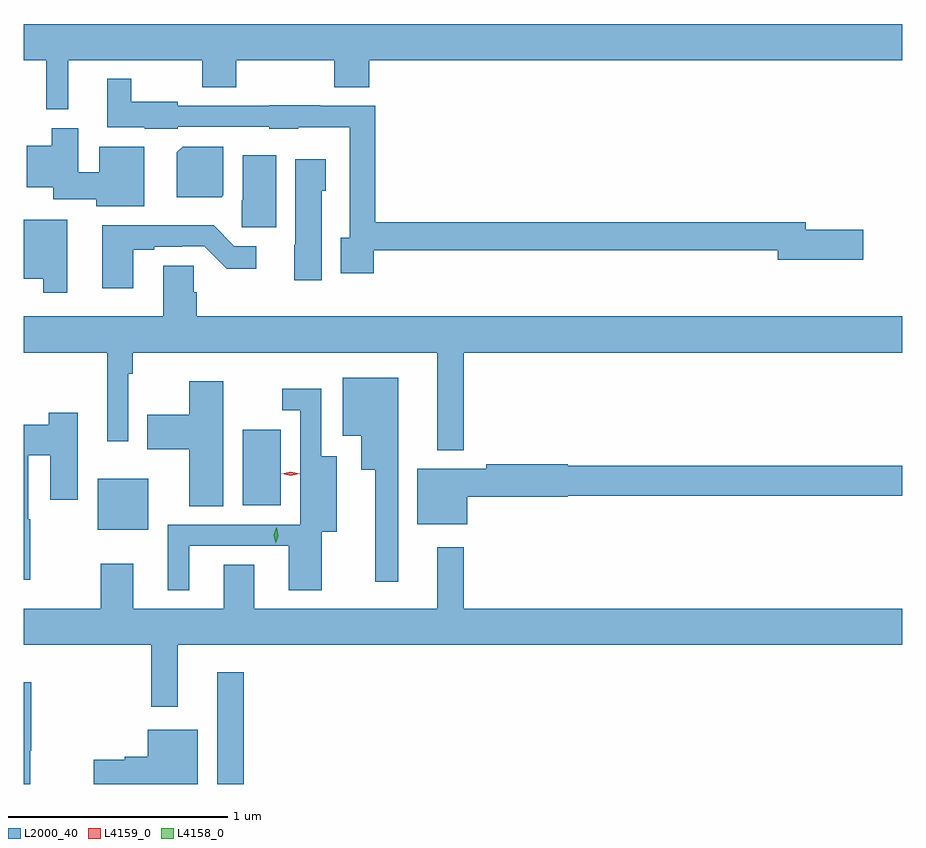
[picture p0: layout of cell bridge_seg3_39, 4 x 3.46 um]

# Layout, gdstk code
import gdstk
lib = gdstk.Library(unit=1e-6, precision=1e-09)
def R(c, l, rs):  # rectangles x0, y0, x1, y1
    for r in rs: c.add(gdstk.rectangle(r[:2], r[2:], *l))
def P(c, l, *ps):  # polygons
    for p in ps: c.add(gdstk.Polygon(p, *l))
L2000_40 = (2000, 40)
L4158_0 = (4158, 0)
L4159_0 = (4159, 0)

bridge_seg3_39 = lib.new_cell('bridge_seg3_39')
R(bridge_seg3_39, L2000_40, [(708.689,672.311,708.811,672.82), (708.146,673.469,708.376,673.702), (708.806,673.58,708.979,673.924)])
P(bridge_seg3_39, L2000_40, [(708.011,675.608),(708.622,675.608),(708.622,675.484),(708.777,675.484),(708.777,675.608),(709.222,675.608),(709.222,675.484),(709.382,675.484),(709.382,675.608),(711.809,675.608),(711.809,675.772),(707.809,675.772),(707.809,675.608),(707.912,675.608),(707.912,675.383),(708.011,675.383)],
  [(709.402,674.742),(711.242,674.742),(711.242,674.699),(711.631,674.699),(711.631,674.834),(711.37,674.834),(711.37,674.87),(709.409,674.87),(709.409,675.399),(709.159,675.399),(709.159,675.401),(708.927,675.401),(708.927,675.399),(708.51,675.399),(708.51,675.418),(708.298,675.418),(708.298,675.523),(708.188,675.523),(708.188,675.302),(708.36,675.302),(708.36,675.296),(708.51,675.296),(708.51,675.303),(708.927,675.303),(708.927,675.296),(709.059,675.296),(709.059,675.302),(709.293,675.302),(709.293,674.798),(709.253,674.798),(709.253,674.637),(709.402,674.637)],
  [(708.358,675.214),(708.152,675.214),(708.152,675.098),(708.058,675.098),(708.058,675.298),(707.936,675.298),(707.936,675.217),(707.822,675.217),(707.822,675.029),(707.942,675.029),(707.942,674.975),(708.138,674.975),(708.138,674.942),(708.358,674.942)],
  [(708.718,674.992),(708.718,675.214),(708.532,675.214),(708.506,675.188),(708.506,674.984),(708.71,674.984)],
  [(708.958,675.175),(708.806,675.175),(708.806,674.97),(708.802,674.97),(708.802,674.847),(708.958,674.847)],
  [(709.165,675.012),(709.183,675.012),(709.183,675.157),(709.046,675.157),(709.046,674.766),(709.04,674.766),(709.04,674.604),(709.165,674.604)],
  [(708.006,674.881),(707.809,674.881),(707.809,674.612),(707.898,674.612),(707.898,674.547),(708.006,674.547)],
  [(708.307,674.745),(708.403,674.745),(708.403,674.757),(708.53,674.757),(708.53,674.76),(708.63,674.76),(708.733,674.658),(708.868,674.658),(708.868,674.76),(708.768,674.76),(708.673,674.855),(708.167,674.855),(708.167,674.568),(708.307,674.568)],
  [(709.813,674.276),(711.809,674.276),(711.809,674.44),(708.596,674.44),(708.596,674.55),(708.582,674.55),(708.582,674.672),(708.443,674.672),(708.443,674.44),(707.809,674.44),(707.809,674.276),(708.188,674.276),(708.188,673.872),(708.285,673.872),(708.285,674.18),(708.305,674.18),(708.305,674.276),(709.691,674.276),(709.691,673.832),(709.813,673.832)],
  [(709.513,674.161),(709.262,674.161),(709.262,673.898),(709.346,673.898),(709.346,673.742),(709.409,673.742),(709.409,673.233),(709.513,673.233)],
  [(708.718,674.146),(708.563,674.146),(708.563,673.993),(708.37,673.993),(708.37,673.835),(708.563,673.835),(708.563,673.576),(708.718,673.576)],
  [(708.562,673.395),(709.016,673.395),(709.016,673.194),(709.165,673.194),(709.165,673.46),(709.234,673.46),(709.234,673.804),(709.164,673.804),(709.164,674.11),(708.987,674.11),(708.987,674.013),(709.068,674.013),(709.068,673.7),(709.067,673.7),(709.067,673.491),(708.464,673.491),(708.464,673.194),(708.562,673.194)],
  [(707.838,673.517),(707.83,673.517),(707.83,673.808),(707.93,673.808),(707.93,673.605),(708.055,673.605),(708.055,674.002),(707.923,674.002),(707.923,673.948),(707.809,673.948),(707.809,673.241),(707.838,673.241)],
  [(709.828,673.619),(710.286,673.619),(710.286,673.624),(711.809,673.624),(711.809,673.76),(710.286,673.76),(710.286,673.766),(709.914,673.766),(709.914,673.747),(709.601,673.747),(709.601,673.493),(709.828,673.493)],
  [(708.511,672.944),(711.809,672.944),(711.809,673.108),(709.813,673.108),(709.813,673.39),(709.691,673.39),(709.691,673.108),(708.859,673.108),(708.859,673.31),(708.719,673.31),(708.719,673.108),(708.307,673.108),(708.307,673.315),(708.16,673.315),(708.16,673.108),(707.809,673.108),(707.809,672.944),(708.39,672.944),(708.39,672.663),(708.511,672.663)],
  [(707.838,672.462),(707.843,672.462),(707.843,672.775),(707.809,672.775),(707.809,672.311),(707.838,672.311)],
  [(708.601,672.559),(708.374,672.559),(708.374,672.434),(708.269,672.434),(708.269,672.421),(708.127,672.421),(708.127,672.311),(708.601,672.311)])
P(bridge_seg3_39, L4158_0, [(708.956,673.407),(708.948,673.443),(708.959,673.478),(708.959,673.478),(708.96,673.478),(708.968,673.442),(708.957,673.407),(708.957,673.407)])
P(bridge_seg3_39, L4159_0, [(709.024,673.714),(708.983,673.724),(708.982,673.724),(708.983,673.724),(709.024,673.733),(709.065,673.723),(709.065,673.723),(709.065,673.723)])

lib.write_gds('bridge_seg3_39.gds')
